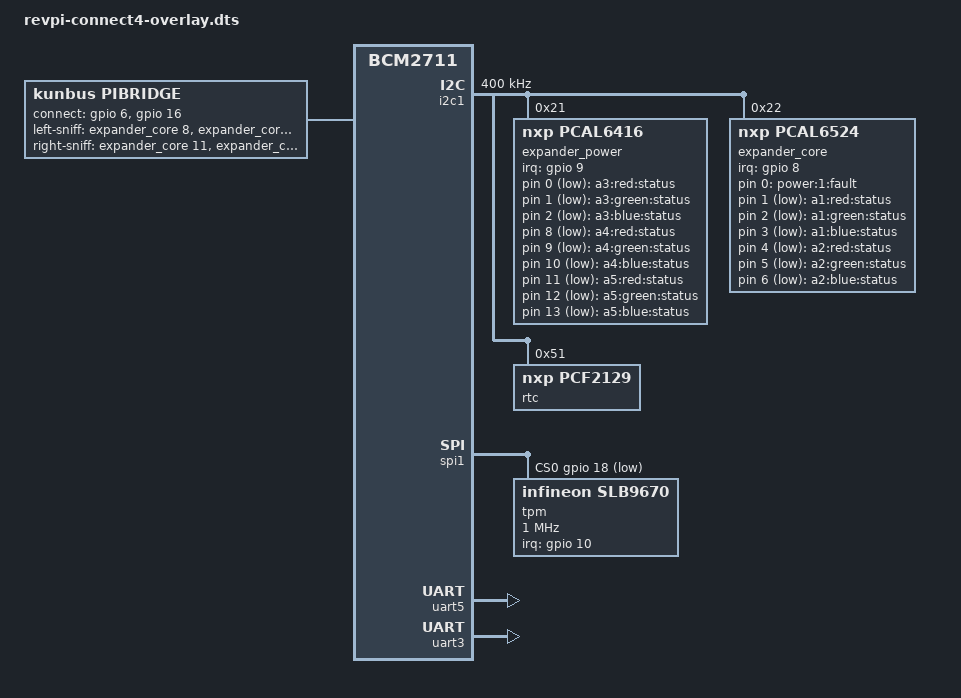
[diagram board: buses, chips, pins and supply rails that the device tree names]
// SPDX-License-Identifier: GPL-2.0-only
/dts-v1/;
/plugin/;
#include <dt-bindings/gpio/gpio.h>
#include <dt-bindings/interrupt-controller/irq.h>
#include <dt-bindings/pinctrl/bcm2835.h>

/ {
	compatible = "brcm,bcm2711";

	fragment@0 {
		target-path = "/";
		__overlay__ {
			compatible = "kunbus,revpi-connect4", "brcm,bcm2711";

			pibridge {
				pinctrl-names = "default";
				compatible = "kunbus,pibridge";
				pinctrl-0 = <&digital_io_pins>;

				/* digital IN, digital OUT */
				connect-gpios = <&gpio 6 GPIO_ACTIVE_HIGH>,
						<&gpio 16 GPIO_ACTIVE_HIGH>;

				left-sniff-gpios = <&expander_core 8 GPIO_ACTIVE_HIGH>,
						   <&expander_core 9 GPIO_ACTIVE_HIGH>;
				right-sniff-gpios = <&expander_core 11 GPIO_ACTIVE_HIGH>,
						   <&expander_core 12 GPIO_ACTIVE_HIGH>;
			};

			leds {
				compatible = "gpio-leds";
				power_red {
					label = "power:1:fault";
					gpios = <&expander_core 0 GPIO_ACTIVE_HIGH>;
					linux,default-trigger = "power_red";
				};
				a1_red {
					label = "a1:red:status";
					gpios = <&expander_core 1 GPIO_ACTIVE_LOW>;
					linux,default-trigger = "a1_red";
				};
				a1_green {
					label = "a1:green:status";
					gpios = <&expander_core 2 GPIO_ACTIVE_LOW>;
					linux,default-trigger = "a1_green";
				};
				a1_blue {
					label = "a1:blue:status";
					gpios = <&expander_core 3 GPIO_ACTIVE_LOW>;
					linux,default-trigger = "a1_blue";
				};
				a2_red {
					label = "a2:red:status";
					gpios = <&expander_core 4 GPIO_ACTIVE_LOW>;
					linux,default-trigger = "a2_red";
				};
				a2_green {
					label = "a2:green:status";
					gpios = <&expander_core 5 GPIO_ACTIVE_LOW>;
					linux,default-trigger = "a2_green";
				};
				a2_blue {
					label = "a2:blue:status";
					gpios = <&expander_core 6 GPIO_ACTIVE_LOW>;
					linux,default-trigger = "a2_blue";
				};
				a3_red {
					label = "a3:red:status";
					gpios = <&expander_power 0 GPIO_ACTIVE_LOW>;
					linux,default-trigger = "a3_red";
				};
				a3_green {
					label = "a3:green:status";
					gpios = <&expander_power 1 GPIO_ACTIVE_LOW>;
					linux,default-trigger = "a3_green";
				};
				a3_blue {
					label = "a3:blue:status";
					gpios = <&expander_power 2 GPIO_ACTIVE_LOW>;
					linux,default-trigger = "a3_blue";
				};
				a4_red {
					label = "a4:red:status";
					gpios = <&expander_power 8 GPIO_ACTIVE_LOW>;
					linux,default-trigger = "a4_red";
				};
				a4_green {
					label = "a4:green:status";
					gpios = <&expander_power 9 GPIO_ACTIVE_LOW>;
					linux,default-trigger = "a4_green";
				};
				a4_blue {
					label = "a4:blue:status";
					gpios = <&expander_power 10 GPIO_ACTIVE_LOW>;
					linux,default-trigger = "a4_blue";
				};
				a5_red {
					label = "a5:red:status";
					gpios = <&expander_power 11 GPIO_ACTIVE_LOW>;
					linux,default-trigger = "a5_red";
				};
				a5_green {
					label = "a5:green:status";
					gpios = <&expander_power 12 GPIO_ACTIVE_LOW>;
					linux,default-trigger = "a5_green";
				};
				a5_blue {
					label = "a5:blue:status";
					gpios = <&expander_power 13 GPIO_ACTIVE_LOW>;
					linux,default-trigger = "a5_blue";
				};
			};
		};
	};

	/* PINMUX */
	fragment@1 {
		target = <&gpio>;
		__overlay__ {
			pb_uart_pins: pb_uart_pins {
				/* TX RX TX_EN */
				brcm,pins     = <4 5 7>;
				brcm,function = <BCM2835_FSEL_ALT4>;
				brcm,pull     = <BCM2835_PUD_OFF>;
			};
			digital_io_pins: digital_io_pins {
				/* digital IN digital OUT */
				brcm,pins     = <6 16>;
				brcm,function = <BCM2835_FSEL_GPIO_IN
				                 BCM2835_FSEL_GPIO_OUT>;
				brcm,pull     = <BCM2835_PUD_OFF
				                 BCM2835_PUD_OFF>;
			};
			exp_core_pins: exp_core_pins {
				/* IRQ */
				brcm,pins     = <8>;
				brcm,function = <BCM2835_FSEL_GPIO_IN>;
				brcm,pull     = <BCM2835_PUD_OFF>;
			};
			exp_power_pins: exp_power_pins {
				/* IRQ */
				brcm,pins     = <9>;
				brcm,function = <BCM2835_FSEL_GPIO_IN>;
				brcm,pull     = <BCM2835_PUD_OFF>;
			};
			rs485_pins: rs485_pins {
				/* TX RX TX_EN */
				brcm,pins     = <12 13 15>;
				brcm,function = <BCM2835_FSEL_ALT4
				                 BCM2835_FSEL_ALT4
				                 BCM2835_FSEL_ALT4>;
				brcm,pull     = <BCM2835_PUD_OFF>;
			};
			spi1_cs_pins: spi1_cs_pins {
				/* tpm (SPI1_CE0_N) */
				brcm,pins     = <18>;
				brcm,function = <BCM2835_FSEL_GPIO_OUT>;
				brcm,pull     = <BCM2835_PUD_OFF>;
			};
			spi1_pins: spi1_pins {
				/* MISO MOSI SCLK */
				brcm,pins     = <19 20 21>;
				brcm,function = <BCM2835_FSEL_ALT4>;
				brcm,pull     = <BCM2835_PUD_OFF>;
			};
			tpm_pins: tpm_pins {
				/* IRQ */
				brcm,pins     = <10>;
				brcm,function = <BCM2835_FSEL_GPIO_IN>;
				brcm,pull     = <BCM2835_PUD_OFF>;
			};
		};
	};

	fragment@2 {
		target = <&i2c1_pins>;
		__overlay__ {
			/* SDA SCL */
			brcm,pins     = <2 3>;
			brcm,function = <BCM2835_FSEL_ALT0>;
			brcm,pull     = <BCM2835_PUD_OFF>;
		};
	};

	/* I2C1 */
	fragment@3 {
		target = <&i2c1>;
		__overlay__ {
			#address-cells = <1>;
			#size-cells = <0>;
			pinctrl-names = "default";
			pinctrl-0 = <&i2c1_pins>;
			clock-frequency = <400000>;
			status = "okay";

			expander_power: gpio@21 {
				/* 100kHz, 400kHz */
				compatible = "nxp,pcal6416";
				pinctrl-names = "default";
				pinctrl-0 = <&exp_power_pins>;
				reg = <0x21>;
				gpio-controller;
				#gpio-cells = <2>;
				status = "okay";
				interrupt-controller;
				#interrupt-cells = <2>;
				interrupt-parent = <&gpio>;
				interrupts = <9 IRQ_TYPE_LEVEL_LOW>;
			};

			expander_core: gpio@22 {
				/* 100kHz, 400kHz */
				compatible = "nxp,pcal6524";
				pinctrl-names = "default";
				pinctrl-0 = <&exp_core_pins>;
				reg = <0x22>;
				gpio-controller;
				#gpio-cells = <2>;
				status = "okay";
				interrupt-controller;
				#interrupt-cells = <2>;
				interrupt-parent = <&gpio>;
				interrupts = <8 IRQ_TYPE_LEVEL_LOW>;
			};

			rtc@51 {
				/* 100kHz, 400kHz */
				compatible = "nxp,pcf2129";
				reg = <0x51>;
				status = "okay";
				reset-source;
			};

			/* For system management of PCIe device, not used for now*/
			pcie@38 {
				reg = <0x38>;
				status = "disabled";
			};
		};
	};

	/* SPI1 */
	fragment@4 {
		target = <&spi1>;
		__overlay__ {
			#address-cells = <1>;
			#size-cells = <0>;
			pinctrl-names = "default";
			pinctrl-0 = <&spi1_pins>, <&spi1_cs_pins>;
			cs-gpios = <&gpio 18 GPIO_ACTIVE_LOW>;
			status = "okay";

			tpm: tpm@0 {
				compatible = "infineon,slb9670";
				pinctrl-names = "default";
				pinctrl-0 = <&tpm_pins>;
				reg = <0>;
				spi-max-frequency = <1000000>;
				interrupt-parent = <&gpio>;
				#interrupt-cells = <2>;
				interrupts = <10 IRQ_TYPE_LEVEL_LOW>;
				status = "okay";
			};
		};
	};

	/* UART5 (RS485)*/
	fragment@5 {
		target = <&uart5>;
		__overlay__ {
			pinctrl-names = "default";
			pinctrl-0 = <&rs485_pins>;
			status = "okay";
			linux,rs485-enabled-at-boot-time;
			rs485-term-gpios = <&expander_power 4 GPIO_ACTIVE_LOW>;
		};
	};

	/* UART3 (PB_SERIAL) */
	fragment@6 {
		target = <&uart3>;
		__overlay__ {
			pinctrl-names = "default";
			pinctrl-0 = <&pb_uart_pins>;
			status = "okay";
			linux,rs485-enabled-at-boot-time;
		};
	};

	/* PCIe0 */
	fragment@7 {
		target = <&pcie0>;
		__overlay__ {
			/* No configuration till now*/
		};
	};
};
